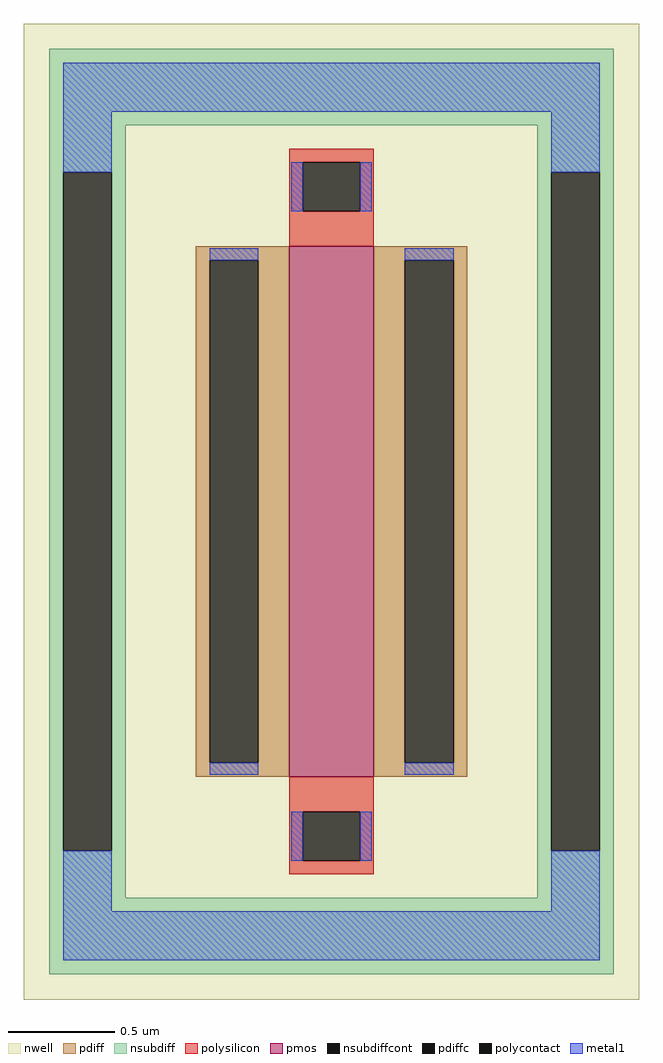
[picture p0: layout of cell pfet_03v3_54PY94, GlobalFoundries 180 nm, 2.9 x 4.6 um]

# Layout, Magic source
magic
tech gf180mcuD
magscale 1 10
<< nwell >>
rect -290 -460 290 460
<< pmos >>
rect -40 -250 40 250
<< pdiff >>
rect -128 237 -40 250
rect -128 -237 -115 237
rect -69 -237 -40 237
rect -128 -250 -40 -237
rect 40 237 128 250
rect 40 -237 69 237
rect 115 -237 128 237
rect 40 -250 128 -237
<< pdiffc >>
rect -115 -237 -69 237
rect 69 -237 115 237
<< nsubdiff >>
rect -266 364 266 436
rect -266 320 -194 364
rect -266 -320 -253 320
rect -207 -320 -194 320
rect 194 320 266 364
rect -266 -364 -194 -320
rect 194 -320 207 320
rect 253 -320 266 320
rect 194 -364 266 -320
rect -266 -436 266 -364
<< nsubdiffcont >>
rect -253 -320 -207 320
rect 207 -320 253 320
<< polysilicon >>
rect -40 329 40 342
rect -40 283 -27 329
rect 27 283 40 329
rect -40 250 40 283
rect -40 -283 40 -250
rect -40 -329 -27 -283
rect 27 -329 40 -283
rect -40 -342 40 -329
<< polycontact >>
rect -27 283 27 329
rect -27 -329 27 -283
<< metal1 >>
rect -253 377 253 423
rect -253 320 -207 377
rect -38 283 -27 329
rect 27 283 38 329
rect 207 320 253 377
rect -115 237 -69 248
rect -115 -248 -69 -237
rect 69 237 115 248
rect 69 -248 115 -237
rect -253 -377 -207 -320
rect -38 -329 -27 -283
rect 27 -329 38 -283
rect 207 -377 253 -320
rect -253 -423 253 -377
<< properties >>
string FIXED_BBOX -230 -400 230 400
string gencell pfet_03v3
string library gf180mcu
string parameters w 2.5 l 0.4 m 1 nf 1 diffcov 100 polycov 100 guard 1 glc 1 grc 1 gtc 0 gbc 0 tbcov 100 rlcov 100 topc 1 botc 1 poverlap 0 doverlap 1 lmin 0.28 wmin 0.22 class mosfet full_metal 1 compatible {pfet_03v3 pfet_06v0}
<< end >>
